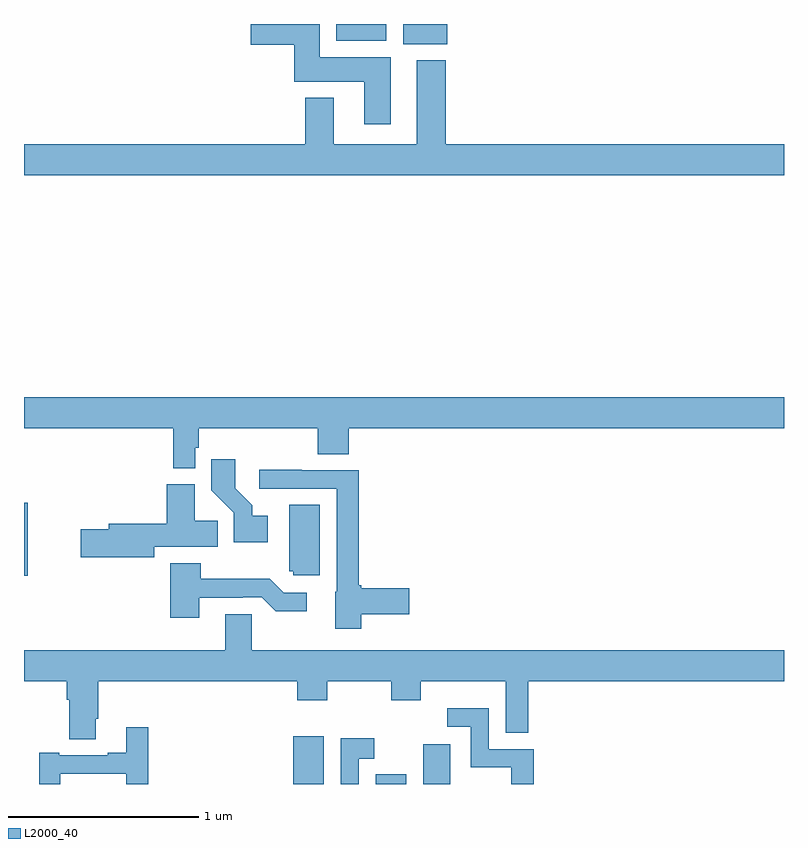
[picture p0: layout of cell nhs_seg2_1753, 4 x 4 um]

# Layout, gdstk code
import gdstk
lib = gdstk.Library(unit=1e-6, precision=1e-09)
def R(c, l, rs):  # rectangles x0, y0, x1, y1
    for r in rs: c.add(gdstk.rectangle(r[:2], r[2:], *l))
def P(c, l, *ps):  # polygons
    for p in ps: c.add(gdstk.Polygon(p, *l))
L2000_40 = (2000, 40)

nhs_seg2_1753 = lib.new_cell('nhs_seg2_1753')
R(nhs_seg2_1753, L2000_40, [(204.416,609.8,204.577,610.051), (204.851,609.8,205.012,609.852), (205.1,609.8,205.243,610.009), (203,610.895,203.02,611.281), (204.995,613.694,205.228,613.8), (204.644,613.712,204.907,613.8)])
P(nhs_seg2_1753, L2000_40, [(204.931,613.624),(204.556,613.624),(204.556,613.8),(204.194,613.8),(204.194,613.691),(204.422,613.691),(204.422,613.496),(204.791,613.496),(204.791,613.272),(204.931,613.272)],
  [(207,613.168),(205.22,613.168),(205.22,613.609),(205.067,613.609),(205.067,613.168),(204.631,613.168),(204.631,613.411),(204.479,613.411),(204.479,613.168),(203,613.168),(203,613.004),(207,613.004)],
  [(203.901,611.571),(203.921,611.571),(203.921,611.672),(204.545,611.672),(204.545,611.536),(204.71,611.536),(204.71,611.672),(207,611.672),(207,611.836),(203,611.836),(203,611.672),(203.785,611.672),(203.785,611.462),(203.901,611.462)],
  [(204.283,611.212),(204.202,611.212),(204.202,611.267),(204.112,611.357),(204.112,611.509),(203.986,611.509),(203.986,611.346),(204.105,611.227),(204.105,611.072),(204.283,611.072)],
  [(204.774,610.694),(205.027,610.694),(205.027,610.829),(204.774,610.829),(204.774,610.847),(204.761,610.847),(204.761,611.451),(204.461,611.451),(204.461,611.454),(204.237,611.454),(204.237,611.355),(204.645,611.355),(204.645,610.812),(204.638,610.812),(204.638,610.616),(204.774,610.616)],
  [(203.686,611.048),(204.02,611.048),(204.02,611.186),(203.899,611.186),(203.899,611.377),(203.75,611.377),(203.75,611.171),(203.447,611.171),(203.447,611.141),(203.298,611.141),(203.298,610.994),(203.686,610.994)],
  [(204.556,611.269),(204.395,611.269),(204.395,610.92),(204.417,610.92),(204.417,610.899),(204.556,610.899)],
  [(203.923,610.779),(204.152,610.779),(204.152,610.782),(204.252,610.782),(204.325,610.709),(204.487,610.709),(204.487,610.806),(204.366,610.806),(204.293,610.879),(203.931,610.879),(203.931,610.963),(203.771,610.963),(203.771,610.674),(203.923,610.674)],
  [(203.377,610.144),(203.39,610.144),(203.39,610.34),(204.437,610.34),(204.437,610.241),(204.597,610.241),(204.597,610.34),(204.934,610.34),(204.934,610.241),(205.089,610.241),(205.089,610.34),(205.535,610.34),(205.535,610.069),(205.654,610.069),(205.654,610.34),(207,610.34),(207,610.504),(204.198,610.504),(204.198,610.694),(204.059,610.694),(204.059,610.504),(203,610.504),(203,610.34),(203.225,610.34),(203.225,610.244),(203.237,610.244),(203.237,610.036),(203.377,610.036)],
  [(205.684,609.984),(205.446,609.984),(205.446,610.198),(205.227,610.198),(205.227,610.101),(205.35,610.101),(205.35,609.888),(205.565,609.888),(205.565,609.8),(205.684,609.8)],
  [(203.191,609.855),(203.538,609.855),(203.538,609.8),(203.654,609.8),(203.654,610.099),(203.537,610.099),(203.537,609.964),(203.441,609.964),(203.441,609.951),(203.185,609.951),(203.185,609.964),(203.081,609.964),(203.081,609.8),(203.191,609.8)],
  [(204.762,609.933),(204.844,609.933),(204.844,610.042),(204.666,610.042),(204.666,609.8),(204.762,609.8)])

lib.write_gds('nhs_seg2_1753.gds')
